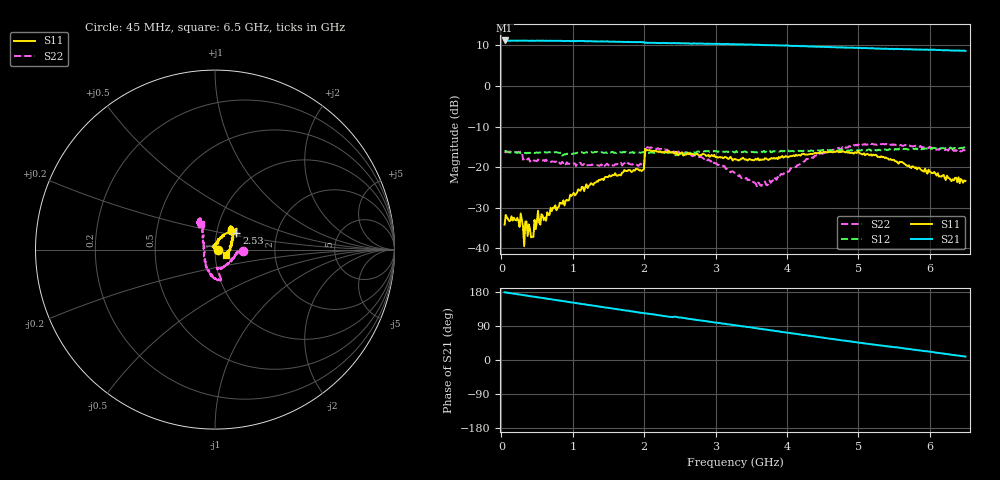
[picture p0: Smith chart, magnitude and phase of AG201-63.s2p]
! WJ Communications, Inc.
! AG201-63 InGaP HBT Gain Block
! The data is for the unmatched device in a 50 Ohm fixture, de-embedded to the device leads.
! Device bias: +4 V @ 20 mA -> Note a bias dropping resistor must be used for proper operation.
! Data From 20163b.s2p
# MHZ S DB R 50
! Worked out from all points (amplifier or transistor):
!   401 points, 45 MHz to 6.5 GHz, reference 50 ohm
!   highest |S21| = 11.2 dB at 45 MHz (marker M1)
!   |S21| within 3 dB of that: start of sweep to end of sweep
!   unconditionally stable (mu >= 1): start of sweep to end of sweep
!   at 1.11 GHz: K = 1.18, MAG = 11.2 dB, |S12| = -16.4 dB
!   at 3.272 GHz: K = 1.24, MAG = 10.4 dB, |S12| = -16.4 dB
!   at 6.5 GHz: K = 1.28, MAG = 8.8 dB, |S12| = -15.3 dB
!   S11 on the Smith chart (normalised r, x): 45 MHz: 1.04, -0.01; 2.53 GHz: 1.24, +0.24; 6.5 GHz: 1.13, -0.07
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45  -34.17 -7.9  11.23 178.7  -16.02 1.6  -16.15 -2.1
254.7875  -34.75 28.9  11.19 172.7  -16.43 1.7  -16.36 -3.9
335.475  -33.41 75.6  11.19 170.5  -16.45 -1.9  -17.84 -4.8
367.7501  -36.95 91.7  11.18 169.6  -16.46 -1.6  -17.98 -6.0
448.4376  -37.19 117.8  11.19 167.3  -16.37 -4.5  -18.32 -8.7
545.2626  -34.17 97.7  11.14 164.6  -16.40 -4.0  -18.39 -8.5
1126.212  -24.92 70.4  11.11 147.7  -16.32 -10.2  -19.46 -35.9
1465.099  -22.39 66.2  10.97 138.2  -16.39 -11.1  -19.35 -53.6
1965.36  -20.97 56.8  10.80 124.6  -16.37 -15.1  -19.39 -83.9
2046.047  -15.78 43.8  10.63 122.4  -16.46 -15.7  -15.08 -76.9
2207.422  -16.18 42.8  10.61 118.0  -16.30 -17.8  -15.52 -85.8
2368.797  -16.44 42.1  10.57 113.9  -16.34 -17.9  -15.88 -90.8
2449.484  -16.19 39.6  10.55 113.5  -17.02 -23.4  -16.28 -89.5
2530.172  -16.37 38.5  10.53 111.6  -16.80 -22.4  -16.51 -97.5
2933.608  -17.17 43.3  10.41 100.6  -16.15 -22.8  -18.41 -111.7
3288.633  -18.15 45.3  10.25 91.4  -16.01 -23.7  -21.58 -132.3
3740.482  -18.25 50.9  10.06 79.3  -16.08 -28.8  -24.15 165.2
4353.707  -16.77 55.1  9.79 63.0  -15.91 -35.7  -17.63 123.3
4999.216  -16.04 51.3  9.38 45.9  -15.85 -42.3  -14.41 116.9
5434.935  -18.18 40.5  9.15 35.4  -15.60 -44.4  -14.24 118.8
6048.168  -21.41 3.0  8.95 20.6  -15.24 -51.3  -15.26 122.3
6500  -23.41 -27.1  8.65 9.1  -15.30 -57.0  -15.73 119.2
